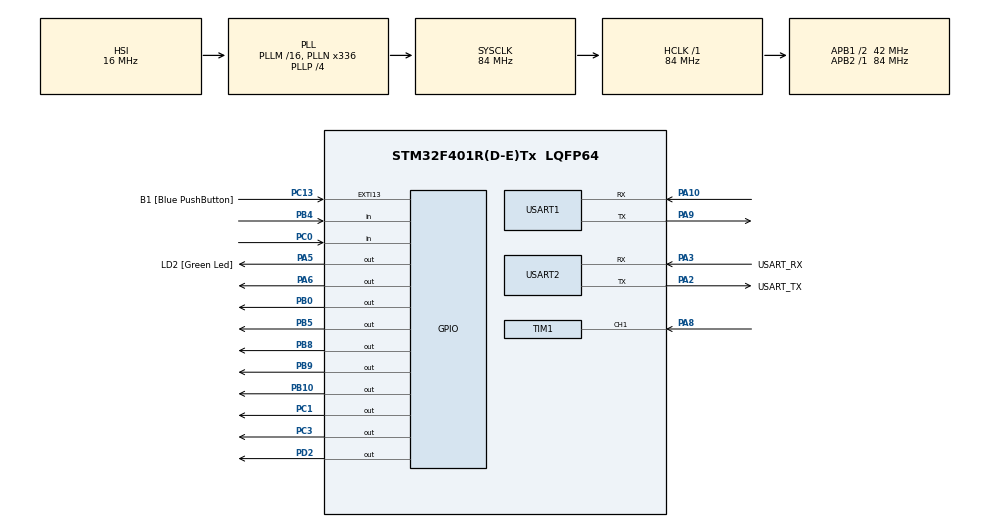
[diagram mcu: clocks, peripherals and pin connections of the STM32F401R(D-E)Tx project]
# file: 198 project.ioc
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Dma.Request0=USART1_TX
Dma.USART1_TX.0.Direction=DMA_MEMORY_TO_PERIPH
Dma.USART1_TX.0.FIFOMode=DMA_FIFOMODE_DISABLE
Dma.USART1_TX.0.Instance=DMA2_Stream7
Dma.USART1_TX.0.MemDataAlignment=DMA_MDATAALIGN_BYTE
Dma.USART1_TX.0.MemInc=DMA_MINC_ENABLE
Dma.USART1_TX.0.Mode=DMA_CIRCULAR
Dma.USART1_TX.0.PeriphDataAlignment=DMA_PDATAALIGN_BYTE
Dma.USART1_TX.0.PeriphInc=DMA_PINC_DISABLE
Dma.USART1_TX.0.Priority=DMA_PRIORITY_LOW
Mcu.Family=STM32F4
Mcu.Name=STM32F401R(D-E)Tx
Mcu.Package=LQFP64
NVIC.DMA2_Stream7_IRQn=true\:0\:0\:false\:false\:true\:false\:true\:true
NVIC.PriorityGroup=NVIC_PRIORITYGROUP_0
PA10.Mode=Asynchronous
PA10.Signal=USART1_RX
PA13.GPIO_Label=TMS
PA13.Mode=Serial_Wire
PA13.Signal=SYS_JTMS-SWDIO
PA14.GPIO_Label=TCK
PA14.Mode=Serial_Wire
PA14.Signal=SYS_JTCK-SWCLK
PA2.GPIO_Label=USART_TX
PA2.GPIO_Mode=GPIO_MODE_AF_PP
PA2.GPIO_PuPd=GPIO_NOPULL
PA2.GPIO_Speed=GPIO_SPEED_FREQ_LOW
PA2.Mode=Asynchronous
PA2.Signal=USART2_TX
PA3.GPIO_Label=USART_RX
PA3.GPIO_Mode=GPIO_MODE_AF_PP
PA3.GPIO_PuPd=GPIO_NOPULL
PA3.GPIO_Speed=GPIO_SPEED_FREQ_LOW
PA3.Mode=Asynchronous
PA3.Signal=USART2_RX
PA5.GPIO_Label=LD2 [Green Led]
PA5.GPIO_Mode=GPIO_MODE_OUTPUT_PP
PA5.GPIO_PuPd=GPIO_NOPULL
PA5.GPIO_Speed=GPIO_SPEED_FREQ_LOW
PA5.Signal=GPIO_Output
PA6.GPIO_PuPd=GPIO_PULLDOWN
PA6.Signal=GPIO_Output
PA8.Signal=S_TIM1_CH1
PA9.Mode=Asynchronous
PA9.Signal=USART1_TX
PB0.Signal=GPIO_Output
PB10.Signal=GPIO_Output
PB3.GPIO_Label=SWO
PB3.Signal=SYS_JTDO-SWO
PB4.GPIO_PuPd=GPIO_PULLDOWN
PB4.Signal=GPIO_Input
PB5.GPIO_PuPd=GPIO_PULLDOWN
PB5.Signal=GPIO_Output
PB8.Signal=GPIO_Output
PB9.Signal=GPIO_Output
PC0.GPIO_PuPd=GPIO_PULLDOWN
PC0.Signal=GPIO_Input
PC1.GPIO_PuPd=GPIO_PULLDOWN
PC1.Signal=GPIO_Output
PC13-ANTI_TAMP.GPIO_Label=B1 [Blue PushButton]
PC13-ANTI_TAMP.GPIO_ModeDefaultEXTI=GPIO_MODE_IT_FALLING
PC13-ANTI_TAMP.GPIO_PuPd=GPIO_NOPULL
PC13-ANTI_TAMP.Signal=GPXTI13
PC14-OSC32_IN.Mode=LSE-External-Oscillator
PC14-OSC32_IN.Signal=RCC_OSC32_IN
PC15-OSC32_OUT.Mode=LSE-External-Oscillator
PC15-OSC32_OUT.Signal=RCC_OSC32_OUT
PC3.Signal=GPIO_Output
PD2.Signal=GPIO_Output
PH0\ -\ OSC_IN.Mode=HSE-External-Clock-Source
PH0\ -\ OSC_IN.Signal=RCC_OSC_IN
PH1\ -\ OSC_OUT.Mode=HSE-External-Clock-Source
PH1\ -\ OSC_OUT.Signal=RCC_OSC_OUT
ProjectManager.HeapSize=0x200
ProjectManager.StackSize=0x400
ProjectManager.TargetToolchain=STM32CubeIDE
RCC.48MHZClocksFreq_Value=48000000
RCC.AHBFreq_Value=84000000
RCC.APB1CLKDivider=RCC_HCLK_DIV2
RCC.APB1Freq_Value=42000000
RCC.APB1TimFreq_Value=84000000
RCC.APB2Freq_Value=84000000
RCC.APB2TimFreq_Value=84000000
RCC.CortexFreq_Value=84000000
RCC.HCLKFreq_Value=84000000
RCC.HSE_VALUE=8000000
RCC.HSI_VALUE=16000000
RCC.PLLN=336
RCC.PLLP=RCC_PLLP_DIV4
RCC.PLLQ=7
RCC.SYSCLKFreq_VALUE=84000000
RCC.SYSCLKSource=RCC_SYSCLKSOURCE_PLLCLK
RCC.VCOOutputFreq_Value=336000000
SH.S_TIM1_CH1.0=TIM1_CH1,Input_Capture1_from_TI1
TIM1.Channel-Input_Capture1_from_TI1=TIM_CHANNEL_1
USART1.VirtualMode=VM_ASYNC
USART2.VirtualMode=VM_ASYNC
board=NUCLEO-F401RE

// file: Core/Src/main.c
/* USER CODE BEGIN Header */
/**
  ******************************************************************************
  * @file           : main.c
  * @brief          : Main program body
  ******************************************************************************
  * @attention
  *
  * Copyright (c) 2024 STMicroelectronics.
  * All rights reserved.
  *
  * This software is licensed under terms that can be found in the LICENSE file
  * in the root directory of this software component.
  * If no LICENSE file comes with this software, it is provided AS-IS.
  *
  ******************************************************************************
  */
/* USER CODE END Header */
#include "main.h"
#include "limits.h"
#include "stdbool.h"

TIM_HandleTypeDef htim1;

UART_HandleTypeDef huart1;
UART_HandleTypeDef huart2;
DMA_HandleTypeDef hdma_usart1_tx;

/* USER CODE BEGIN PV */
uint32_t IC_Val1 = 0;
uint32_t IC_Val2 = 0;
uint32_t Difference = 0;
uint8_t Is_First_Captured = 0;  // is the first value captured ?
uint8_t Distance  = 0;

/* Private variables ---------------------------------------------------------*/
TIM_HandleTypeDef htim1;

UART_HandleTypeDef huart1;
UART_HandleTypeDef huart2;
DMA_HandleTypeDef hdma_usart1_tx;

/* USER CODE BEGIN PV */

/* USER CODE END PV */

void SystemClock_Config(void);
static void MX_GPIO_Init(void);
static void MX_DMA_Init(void);
static void MX_USART2_UART_Init(void);
static void MX_TIM1_Init(void);
static void MX_USART1_UART_Init(void);

int main(void)
{

  /* MCU Configuration--------------------------------------------------------*/

  /* Reset of all peripherals, Initializes the Flash interface and the Systick. */
  HAL_Init();

  /* Configure the system clock */
  SystemClock_Config();

  /* Initialize all configured peripherals */
  MX_GPIO_Init();
  MX_DMA_Init();
  MX_USART2_UART_Init();
  MX_TIM1_Init();
  MX_USART1_UART_Init();

  /* Infinite loop */
  /* USER CODE BEGIN WHILE */

  /*
   *left sensor:
   * 	trigger: C1
   * 	echo: C0
   *right sensor:
   * 	trigger: B5
   * 	echo: B4
   *
   * */

  HAL_Delay(3000);

  uint32_t left_t = 999999999;
  uint32_t right_t = 999999999;

  for(int i=0;i<1;i++){
	  //calibrate right sensor
	    HAL_GPIO_WritePin(GPIOB,GPIO_PIN_5,GPIO_PIN_SET);
	    HAL_Delay(1);
	    HAL_GPIO_WritePin(GPIOB,GPIO_PIN_5,GPIO_PIN_RESET);

	    while(!HAL_GPIO_ReadPin(GPIOB,GPIO_PIN_4));
	    uint32_t right_t1 = HAL_GetTick();
	    while(HAL_GPIO_ReadPin(GPIOB,GPIO_PIN_4));
	    uint32_t right_t2 = HAL_GetTick();

	    if ((right_t2-right_t1)<right_t){
	  	  right_t = right_t2-right_t1;
	    }
	    //right finished calibrating
	    HAL_GPIO_WritePin(GPIOA,GPIO_PIN_6, GPIO_PIN_SET);
	    HAL_Delay(1000);
	    HAL_GPIO_WritePin(GPIOA,GPIO_PIN_6, GPIO_PIN_RESET);

	  //calibrate left
  	  HAL_GPIO_WritePin(GPIOC,GPIO_PIN_1,GPIO_PIN_SET);
  	  HAL_Delay(1);
  	  HAL_GPIO_WritePin(GPIOC,GPIO_PIN_1,GPIO_PIN_RESET);

  	  while(!HAL_GPIO_ReadPin(GPIOC,GPIO_PIN_0));
  	  uint32_t left_t1 = HAL_GetTick();
  	  while(HAL_GPIO_ReadPin(GPIOC,GPIO_PIN_0));
  	  uint32_t left_t2 = HAL_GetTick();

  	  if ((left_t2-left_t1)<left_t){
  		  left_t = left_t2-left_t1;
  	  }
  	//left finished calibrating
  	  HAL_GPIO_WritePin(GPIOB,GPIO_PIN_10, GPIO_PIN_SET);
  	  HAL_Delay(1000);
  	  HAL_GPIO_WritePin(GPIOB,GPIO_PIN_10, GPIO_PIN_RESET);
  }

  bool left_Flag = false;
  bool right_Flag = false;

  while (1)
      {
        /* USER CODE END WHILE */
		  HAL_Delay(10);

    	  //left sensor
		 HAL_GPIO_WritePin(GPIOC,GPIO_PIN_1,GPIO_PIN_SET);
		 HAL_Delay(1);
		 HAL_GPIO_WritePin(GPIOC,GPIO_PIN_1,GPIO_PIN_RESET);

		 while(!HAL_GPIO_ReadPin(GPIOC,GPIO_PIN_0));
		 uint32_t t1 = HAL_GetTick();
		 while(HAL_GPIO_ReadPin(GPIOC,GPIO_PIN_0));
		 uint32_t t2 = HAL_GetTick();

		 uint32_t left_deltaT = t2 - t1;

		 if (left_deltaT < left_t) {
			 HAL_GPIO_WritePin(GPIOB,GPIO_PIN_10, GPIO_PIN_SET);
			 if (right_Flag){
				 //send count--
				 HAL_GPIO_WritePin(GPIOB,GPIO_PIN_9,GPIO_PIN_SET);
				 HAL_Delay(100);
				 HAL_GPIO_WritePin(GPIOB,GPIO_PIN_9,GPIO_PIN_RESET);

				 right_Flag = false;
			 } else {
				 left_Flag = true;
			 }
			 HAL_Delay(200);

		 } else {
			 HAL_GPIO_WritePin(GPIOB,GPIO_PIN_10, GPIO_PIN_RESET);

		 }

		  //right sensor
		 HAL_GPIO_WritePin(GPIOB,GPIO_PIN_5,GPIO_PIN_SET);
		 HAL_Delay(1);
		 HAL_GPIO_WritePin(GPIOB,GPIO_PIN_5,GPIO_PIN_RESET);

		 while(!HAL_GPIO_ReadPin(GPIOB,GPIO_PIN_4));
		 uint32_t t3 = HAL_GetTick();
		 while(HAL_GPIO_ReadPin(GPIOB,GPIO_PIN_4));
		 uint32_t t4 = HAL_GetTick();

		 uint32_t right_deltaT = t4 - t3;

		 if (right_deltaT < right_t) {
			 HAL_GPIO_WritePin(GPIOA,GPIO_PIN_6, GPIO_PIN_SET);
			 if (left_Flag){
				 //send count++
				 HAL_GPIO_WritePin(GPIOB,GPIO_PIN_8,GPIO_PIN_SET);
				 HAL_Delay(100);
				 HAL_GPIO_WritePin(GPIOB,GPIO_PIN_8,GPIO_PIN_RESET);

				 left_Flag = false;
			 } else {
				 right_Flag = true;
			 }
			 HAL_Delay(200);

		 } else {
			 HAL_GPIO_WritePin(GPIOA,GPIO_PIN_6, GPIO_PIN_RESET);

		 }

      }
}

void SystemClock_Config(void)
{
  RCC_OscInitTypeDef RCC_OscInitStruct = {0};
  RCC_ClkInitTypeDef RCC_ClkInitStruct = {0};

  /** Configure the main internal regulator output voltage
  */
  __HAL_RCC_PWR_CLK_ENABLE();
  __HAL_PWR_VOLTAGESCALING_CONFIG(PWR_REGULATOR_VOLTAGE_SCALE2);

  /** Initializes the RCC Oscillators according to the specified parameters
  * in the RCC_OscInitTypeDef structure.
  */
  RCC_OscInitStruct.OscillatorType = RCC_OSCILLATORTYPE_HSI;
  RCC_OscInitStruct.HSIState = RCC_HSI_ON;
  RCC_OscInitStruct.HSICalibrationValue = RCC_HSICALIBRATION_DEFAULT;
  RCC_OscInitStruct.PLL.PLLState = RCC_PLL_ON;
  RCC_OscInitStruct.PLL.PLLSource = RCC_PLLSOURCE_HSI;
  RCC_OscInitStruct.PLL.PLLM = 16;
  RCC_OscInitStruct.PLL.PLLN = 336;
  RCC_OscInitStruct.PLL.PLLP = RCC_PLLP_DIV4;
  RCC_OscInitStruct.PLL.PLLQ = 7;
  if (HAL_RCC_OscConfig(&RCC_OscInitStruct) != HAL_OK)
  {
    Error_Handler();
  }

  /** Initializes the CPU, AHB and APB buses clocks
  */
  RCC_ClkInitStruct.ClockType = RCC_CLOCKTYPE_HCLK|RCC_CLOCKTYPE_SYSCLK
                              |RCC_CLOCKTYPE_PCLK1|RCC_CLOCKTYPE_PCLK2;
  RCC_ClkInitStruct.SYSCLKSource = RCC_SYSCLKSOURCE_PLLCLK;
  RCC_ClkInitStruct.AHBCLKDivider = RCC_SYSCLK_DIV1;
  RCC_ClkInitStruct.APB1CLKDivider = RCC_HCLK_DIV2;
  RCC_ClkInitStruct.APB2CLKDivider = RCC_HCLK_DIV1;

  if (HAL_RCC_ClockConfig(&RCC_ClkInitStruct, FLASH_LATENCY_2) != HAL_OK)
  {
    Error_Handler();
  }
}

static void MX_TIM1_Init(void)
{

  TIM_MasterConfigTypeDef sMasterConfig = {0};
  TIM_IC_InitTypeDef sConfigIC = {0};

  htim1.Instance = TIM1;
  htim1.Init.Prescaler = 0;
  htim1.Init.CounterMode = TIM_COUNTERMODE_UP;
  htim1.Init.Period = 65535;
  htim1.Init.ClockDivision = TIM_CLOCKDIVISION_DIV1;
  htim1.Init.RepetitionCounter = 0;
  htim1.Init.AutoReloadPreload = TIM_AUTORELOAD_PRELOAD_DISABLE;
  if (HAL_TIM_IC_Init(&htim1) != HAL_OK)
  {
    Error_Handler();
  }
  sMasterConfig.MasterOutputTrigger = TIM_TRGO_RESET;
  sMasterConfig.MasterSlaveMode = TIM_MASTERSLAVEMODE_DISABLE;
  if (HAL_TIMEx_MasterConfigSynchronization(&htim1, &sMasterConfig) != HAL_OK)
  {
    Error_Handler();
  }
  sConfigIC.ICPolarity = TIM_INPUTCHANNELPOLARITY_RISING;
  sConfigIC.ICSelection = TIM_ICSELECTION_DIRECTTI;
  sConfigIC.ICPrescaler = TIM_ICPSC_DIV1;
  sConfigIC.ICFilter = 0;
  if (HAL_TIM_IC_ConfigChannel(&htim1, &sConfigIC, TIM_CHANNEL_1) != HAL_OK)
  {
    Error_Handler();
  }

}

static void MX_USART1_UART_Init(void)
{

  huart1.Instance = USART1;
  huart1.Init.BaudRate = 115200;
  huart1.Init.WordLength = UART_WORDLENGTH_8B;
  huart1.Init.StopBits = UART_STOPBITS_1;
  huart1.Init.Parity = UART_PARITY_NONE;
  huart1.Init.Mode = UART_MODE_TX_RX;
  huart1.Init.HwFlowCtl = UART_HWCONTROL_NONE;
  huart1.Init.OverSampling = UART_OVERSAMPLING_16;
  if (HAL_UART_Init(&huart1) != HAL_OK)
  {
    Error_Handler();
  }

}

static void MX_USART2_UART_Init(void)
{

  huart2.Instance = USART2;
  huart2.Init.BaudRate = 115200;
  huart2.Init.WordLength = UART_WORDLENGTH_8B;
  huart2.Init.StopBits = UART_STOPBITS_1;
  huart2.Init.Parity = UART_PARITY_NONE;
  huart2.Init.Mode = UART_MODE_TX_RX;
  huart2.Init.HwFlowCtl = UART_HWCONTROL_NONE;
  huart2.Init.OverSampling = UART_OVERSAMPLING_16;
  if (HAL_UART_Init(&huart2) != HAL_OK)
  {
    Error_Handler();
  }

}

static void MX_DMA_Init(void)
{

  /* DMA controller clock enable */
  __HAL_RCC_DMA2_CLK_ENABLE();

  /* DMA interrupt init */
  /* DMA2_Stream7_IRQn interrupt configuration */
  HAL_NVIC_SetPriority(DMA2_Stream7_IRQn, 0, 0);
  HAL_NVIC_EnableIRQ(DMA2_Stream7_IRQn);

}

static void MX_GPIO_Init(void)
{
  GPIO_InitTypeDef GPIO_InitStruct = {0};

  /* GPIO Ports Clock Enable */
  __HAL_RCC_GPIOC_CLK_ENABLE();
  __HAL_RCC_GPIOH_CLK_ENABLE();
  __HAL_RCC_GPIOA_CLK_ENABLE();
  __HAL_RCC_GPIOB_CLK_ENABLE();
  __HAL_RCC_GPIOD_CLK_ENABLE();

  /*Configure GPIO pin Output Level */
  HAL_GPIO_WritePin(GPIOC, GPIO_PIN_1|GPIO_PIN_3, GPIO_PIN_RESET);

  /*Configure GPIO pin Output Level */
  HAL_GPIO_WritePin(GPIOA, LD2_Pin|GPIO_PIN_6, GPIO_PIN_RESET);

  /*Configure GPIO pin Output Level */
  HAL_GPIO_WritePin(GPIOB, GPIO_PIN_0|GPIO_PIN_10|GPIO_PIN_5|GPIO_PIN_8
                          |GPIO_PIN_9, GPIO_PIN_RESET);

  /*Configure GPIO pin Output Level */
  HAL_GPIO_WritePin(GPIOD, GPIO_PIN_2, GPIO_PIN_RESET);

  /*Configure GPIO pin : B1_Pin */
  GPIO_InitStruct.Pin = B1_Pin;
  GPIO_InitStruct.Mode = GPIO_MODE_IT_FALLING;
  GPIO_InitStruct.Pull = GPIO_NOPULL;
  HAL_GPIO_Init(B1_GPIO_Port, &GPIO_InitStruct);

  /*Configure GPIO pin : PC0 */
  GPIO_InitStruct.Pin = GPIO_PIN_0;
  GPIO_InitStruct.Mode = GPIO_MODE_INPUT;
  GPIO_InitStruct.Pull = GPIO_PULLDOWN;
  HAL_GPIO_Init(GPIOC, &GPIO_InitStruct);

  /*Configure GPIO pin : PC1 */
  GPIO_InitStruct.Pin = GPIO_PIN_1;
  GPIO_InitStruct.Mode = GPIO_MODE_OUTPUT_PP;
  GPIO_InitStruct.Pull = GPIO_PULLDOWN;
  GPIO_InitStruct.Speed = GPIO_SPEED_FREQ_LOW;
  HAL_GPIO_Init(GPIOC, &GPIO_InitStruct);

  /*Configure GPIO pin : PC3 */
  GPIO_InitStruct.Pin = GPIO_PIN_3;
  GPIO_InitStruct.Mode = GPIO_MODE_OUTPUT_PP;
  GPIO_InitStruct.Pull = GPIO_NOPULL;
  GPIO_InitStruct.Speed = GPIO_SPEED_FREQ_LOW;
  HAL_GPIO_Init(GPIOC, &GPIO_InitStruct);

  /*Configure GPIO pin : LD2_Pin */
  GPIO_InitStruct.Pin = LD2_Pin;
  GPIO_InitStruct.Mode = GPIO_MODE_OUTPUT_PP;
  GPIO_InitStruct.Pull = GPIO_NOPULL;
  GPIO_InitStruct.Speed = GPIO_SPEED_FREQ_LOW;
  HAL_GPIO_Init(LD2_GPIO_Port, &GPIO_InitStruct);

  /*Configure GPIO pin : PA6 */
  GPIO_InitStruct.Pin = GPIO_PIN_6;
  GPIO_InitStruct.Mode = GPIO_MODE_OUTPUT_PP;
  GPIO_InitStruct.Pull = GPIO_PULLDOWN;
  GPIO_InitStruct.Speed = GPIO_SPEED_FREQ_LOW;
  HAL_GPIO_Init(GPIOA, &GPIO_InitStruct);

  /*Configure GPIO pins : PB0 PB10 PB8 PB9 */
  GPIO_InitStruct.Pin = GPIO_PIN_0|GPIO_PIN_10|GPIO_PIN_8|GPIO_PIN_9;
  GPIO_InitStruct.Mode = GPIO_MODE_OUTPUT_PP;
  GPIO_InitStruct.Pull = GPIO_NOPULL;
  GPIO_InitStruct.Speed = GPIO_SPEED_FREQ_LOW;
  HAL_GPIO_Init(GPIOB, &GPIO_InitStruct);

  /*Configure GPIO pin : PD2 */
  GPIO_InitStruct.Pin = GPIO_PIN_2;
  GPIO_InitStruct.Mode = GPIO_MODE_OUTPUT_PP;
  GPIO_InitStruct.Pull = GPIO_NOPULL;
  GPIO_InitStruct.Speed = GPIO_SPEED_FREQ_LOW;
  HAL_GPIO_Init(GPIOD, &GPIO_InitStruct);

  /*Configure GPIO pin : PB4 */
  GPIO_InitStruct.Pin = GPIO_PIN_4;
  GPIO_InitStruct.Mode = GPIO_MODE_INPUT;
  GPIO_InitStruct.Pull = GPIO_PULLDOWN;
  HAL_GPIO_Init(GPIOB, &GPIO_InitStruct);

  /*Configure GPIO pin : PB5 */
  GPIO_InitStruct.Pin = GPIO_PIN_5;
  GPIO_InitStruct.Mode = GPIO_MODE_OUTPUT_PP;
  GPIO_InitStruct.Pull = GPIO_PULLDOWN;
  GPIO_InitStruct.Speed = GPIO_SPEED_FREQ_LOW;
  HAL_GPIO_Init(GPIOB, &GPIO_InitStruct);

}

void Error_Handler(void)
{
  __disable_irq();
  while (1)
  {
  }
}
